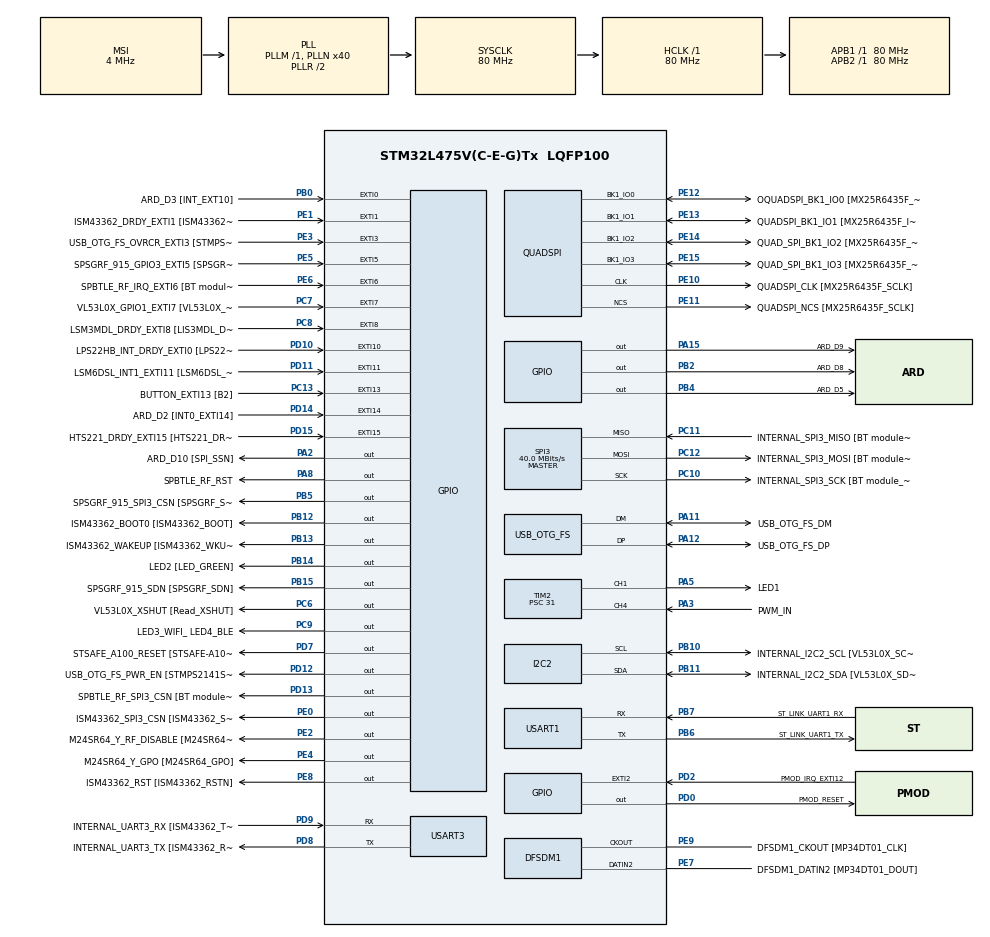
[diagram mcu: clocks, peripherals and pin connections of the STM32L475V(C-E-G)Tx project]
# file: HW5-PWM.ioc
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Mcu.Family=STM32L4
Mcu.Name=STM32L475V(C-E-G)Tx
Mcu.Package=LQFP100
NVIC.EXTI15_10_IRQn=true\:0\:0\:false\:false\:true\:true\:true\:true
NVIC.EXTI9_5_IRQn=true\:0\:0\:false\:false\:true\:true\:true\:true
NVIC.PriorityGroup=NVIC_PRIORITYGROUP_4
NVIC.TIM2_IRQn=true\:0\:0\:false\:false\:true\:true\:true\:true
PA0.GPIO_Label=ARD_D1 [UART4_TX]
PA0.Signal=UART4_TX
PA1.GPIO_Label=ARD_D0 [UART4_RX]
PA1.Signal=UART4_RX
PA10.GPIO_Label=USB_OTG_FS_ID
PA10.Signal=USB_OTG_FS_ID
PA11.GPIO_Label=USB_OTG_FS_DM
PA11.Mode=Device_Only
PA11.Signal=USB_OTG_FS_DM
PA12.GPIO_Label=USB_OTG_FS_DP
PA12.Mode=Device_Only
PA12.Signal=USB_OTG_FS_DP
PA13\ (JTMS-SWDIO).GPIO_Label=SYS_JTMS_SWDIO
PA13\ (JTMS-SWDIO).Mode=Serial_Wire
PA13\ (JTMS-SWDIO).Signal=SYS_JTMS-SWDIO
PA14\ (JTCK-SWCLK).GPIO_Label=SYS_JTCK_SWCLK
PA14\ (JTCK-SWCLK).Mode=Serial_Wire
PA14\ (JTCK-SWCLK).Signal=SYS_JTCK-SWCLK
PA15\ (JTDI).GPIO_Label=ARD_D9
PA15\ (JTDI).Signal=GPIO_Output
PA2.GPIO_Label=ARD_D10 [SPI_SSN]
PA2.Signal=GPIO_Output
PA3.GPIO_Label=PWM_IN
PA3.Signal=S_TIM2_CH4
PA4.GPIO_Label=ARD_D7
PA4.Signal=ADCx_IN9
PA5.GPIO_Label=LED1
PA5.Signal=S_TIM2_CH1
PA6.GPIO_Label=ARD_D12 [SPI1_MISO]
PA6.Signal=SPI1_MISO
PA7.GPIO_Label=ARD_D11 [SPI1_MOSI]
PA7.Signal=SPI1_MOSI
PA8.GPIO_Label=SPBTLE_RF_RST
PA8.Signal=GPIO_Output
PA9.GPIO_Label=USB_OTG_FS_VBUS [STMPS2141STR_OUT]
PA9.Signal=USB_OTG_FS_VBUS
PB0.GPIO_Label=ARD_D3 [INT_EXT10]
PB0.Signal=GPXTI0
PB1.GPIO_Label=ARD_D6 [ADC1_IN6]
PB1.Signal=ADCx_IN16
PB10.GPIO_Label=INTERNAL_I2C2_SCL [VL53L0X_SCL]
PB10.GPIO_Pu=GPIO_PULLUP
PB10.Mode=I2C
PB10.Signal=I2C2_SCL
PB11.GPIO_Label=INTERNAL_I2C2_SDA [VL53L0X_SDA]
PB11.GPIO_Pu=GPIO_PULLUP
PB11.Mode=I2C
PB11.Signal=I2C2_SDA
PB12.GPIO_Label=ISM43362_BOOT0 [ISM43362_BOOT]
PB12.Signal=GPIO_Output
PB13.GPIO_Label=ISM43362_WAKEUP [ISM43362_WKUP]
PB13.Signal=GPIO_Output
PB14.GPIO_Label=LED2 [LED_GREEN]
PB14.Signal=GPIO_Output
PB15.GPIO_Label=SPSGRF_915_SDN [SPSGRF_SDN]
PB15.Signal=GPIO_Output
PB2.GPIO_Label=ARD_D8
PB2.Signal=GPIO_Output
PB3\ (JTDO-TRACESWO).GPIO_Label=SYS_JTD0_SWO
PB3\ (JTDO-TRACESWO).Signal=SYS_JTDO-SWO
PB4\ (NJTRST).GPIO_Label=ARD_D5
PB4\ (NJTRST).Signal=GPIO_Output
PB5.GPIO_Label=SPSGRF_915_SPI3_CSN [SPSGRF_SPI_CS]
PB5.PinState=GPIO_PIN_SET
PB5.Signal=GPIO_Output
PB6.GPIO_Label=ST_LINK_UART1_TX
PB6.Mode=Asynchronous
PB6.Signal=USART1_TX
PB7.GPIO_Label=ST_LINK_UART1_RX
PB7.Mode=Asynchronous
PB7.Signal=USART1_RX
PB8.GPIO_Label=ARD_D15 [I2C1_SCL]
PB8.Signal=I2C1_SCL
PB9.GPIO_Label=ARD_D14 [I2C1_SDA]
PB9.Signal=I2C1_SDA
PC0.GPIO_Label=ARD_A5 [ADC]
PC0.Signal=ADCx_IN1
PC1.GPIO_Label=ARD_A4 [ADC]
PC1.Signal=ADCx_IN2
PC10.GPIO_Label=INTERNAL_SPI3_SCK [BT module_SPI_SCLK] [ISM43362_SCK]
PC10.Mode=Full_Duplex_Master
PC10.Signal=SPI3_SCK
PC11.GPIO_Label=INTERNAL_SPI3_MISO [BT module_SPI_MISO] [ISM43362_MISO]
PC11.Mode=Full_Duplex_Master
PC11.Signal=SPI3_MISO
PC12.GPIO_Label=INTERNAL_SPI3_MOSI [BT module_SPI_MOSI] [ISM43362_MOSI]
PC12.Mode=Full_Duplex_Master
PC12.Signal=SPI3_MOSI
PC13.GPIO_Label=BUTTON_EXTI13 [B2]
PC13.GPIO_ModeDefaultEXTI=GPIO_MODE_IT_FALLING
PC13.Signal=GPXTI13
PC14-OSC32_IN\ (PC14).Mode=LSE-External-Oscillator
PC14-OSC32_IN\ (PC14).Signal=RCC_OSC32_IN
PC15-OSC32_OUT\ (PC15).Mode=LSE-External-Oscillator
PC15-OSC32_OUT\ (PC15).Signal=RCC_OSC32_OUT
PC2.GPIO_Label=ARD_A3 [ADC]
PC2.Signal=ADCx_IN3
PC3.GPIO_Label=ARD_A2 [ADC]
PC3.Signal=ADCx_IN4
PC4.GPIO_Label=ARD_A1 [ADC]
PC4.Signal=ADCx_IN13
PC5.GPIO_Label=ARD_A0 [ADC]
PC5.Signal=ADCx_IN14
PC6.GPIO_Label=VL53L0X_XSHUT [Read_XSHUT]
PC6.Signal=GPIO_Output
PC7.GPIO_Label=VL53L0X_GPIO1_EXTI7 [VL53L0X_GPIO1]
PC7.Signal=GPXTI7
PC8.GPIO_Label=LSM3MDL_DRDY_EXTI8 [LIS3MDL_DRDY]
PC8.Signal=GPXTI8
PC9.GPIO_Label=LED3_WIFI_ LED4_BLE
PC9.Signal=GPIO_Output
PD0.GPIO_Label=PMOD_RESET
PD0.Signal=GPIO_Output
PD1.GPIO_Label=PMOD_SPI2_SCK
PD1.Signal=SPI2_SCK
PD10.GPIO_Label=LPS22HB_INT_DRDY_EXTI0 [LPS22HB_INT_DRDY] 
PD10.Signal=GPXTI10
PD11.GPIO_Label=LSM6DSL_INT1_EXTI11 [LSM6DSL_INT1]
PD11.Signal=GPXTI11
PD12.GPIO_Label=USB_OTG_FS_PWR_EN [STMPS2141STR_EN]
PD12.Signal=GPIO_Output
PD13.GPIO_Label=SPBTLE_RF_SPI3_CSN [BT module_SPI_CS]
PD13.PinState=GPIO_PIN_SET
PD13.Signal=GPIO_Output
PD14.GPIO_Label=ARD_D2 [INT0_EXTI14]
PD14.Signal=GPXTI14
PD15.GPIO_Label=HTS221_DRDY_EXTI15 [HTS221_DRDY]
PD15.Signal=GPXTI15
PD2.GPIO_Label=PMOD_IRQ_EXTI12
PD2.Signal=GPXTI2
PD3.GPIO_Label=PMOD_UART2_CTS
PD3.Signal=USART2_CTS
PD4.GPIO_Label=PMOD_UART2_RTS
PD4.Signal=USART2_RTS
PD5.GPIO_Label=PMOD_UART2_TX
PD5.Signal=USART2_TX
PD6.GPIO_Label=PMOD_UART2_RX
PD6.Signal=USART2_RX
PD7.GPIO_Label=STSAFE_A100_RESET [STSAFE-A100_RESET]
PD7.Signal=GPIO_Output
PD8.GPIO_Label=INTERNAL_UART3_TX [ISM43362_RX]
PD8.Mode=Asynchronous
PD8.Signal=USART3_TX
PD9.GPIO_Label=INTERNAL_UART3_RX [ISM43362_TX]
PD9.Mode=Asynchronous
PD9.Signal=USART3_RX
PE0.GPIO_Label=ISM43362_SPI3_CSN [ISM43362_SSN]
PE0.PinState=GPIO_PIN_SET
PE0.Signal=GPIO_Output
PE1.GPIO_Label=ISM43362_DRDY_EXTI1 [ISM43362_DATARDY]
PE1.Signal=GPXTI1
PE10.GPIO_Label=QUADSPI_CLK [MX25R6435F_SCLK]
PE10.Mode=Single Bank
PE10.Signal=QUADSPI_CLK
PE11.GPIO_Label=QUADSPI_NCS [MX25R6435F_SCLK]
PE11.Mode=Single Bank
PE11.Signal=QUADSPI_NCS
PE12.GPIO_Label=OQUADSPI_BK1_IO0 [MX25R6435F_IO0]
PE12.Mode=Single Bank
PE12.Signal=QUADSPI_BK1_IO0
PE13.GPIO_Label=QUADSPI_BK1_IO1 [MX25R6435F_IO1]
PE13.Mode=Single Bank
PE13.Signal=QUADSPI_BK1_IO1
PE14.GPIO_Label=QUAD_SPI_BK1_IO2 [MX25R6435F_IO2]
PE14.Mode=Single Bank
PE14.Signal=QUADSPI_BK1_IO2
PE15.GPIO_Label=QUAD_SPI_BK1_IO3 [MX25R6435F_IO3]
PE15.Mode=Single Bank
PE15.Signal=QUADSPI_BK1_IO3
PE2.GPIO_Label=M24SR64_Y_RF_DISABLE [M24SR64_RFDIS]
PE2.Signal=GPIO_Output
PE3.GPIO_Label=USB_OTG_FS_OVRCR_EXTI3 [STMPS2141STR_FAULT]
PE3.Signal=GPXTI3
PE4.GPIO_Label=M24SR64_Y_GPO [M24SR64_GPO]
PE4.Signal=GPIO_Output
PE5.GPIO_Label=SPSGRF_915_GPIO3_EXTI5 [SPSGRF_GPIO_3]
PE5.Signal=GPXTI5
PE6.GPIO_Label=SPBTLE_RF_IRQ_EXTI6 [BT module_SPI_IRQ]
PE6.Signal=GPXTI6
PE7.GPIO_Label=DFSDM1_DATIN2 [MP34DT01_DOUT]
PE7.Signal=S_DATAIN2DFSDM1
PE8.GPIO_Label=ISM43362_RST [ISM43362_RSTN]
PE8.Signal=GPIO_Output
PE9.GPIO_Label=DFSDM1_CKOUT [MP34DT01_CLK]
PE9.Signal=S_CKOUTDFSDM1
ProjectManager.HeapSize=0x200
ProjectManager.StackSize=0x400
ProjectManager.TargetToolchain=STM32CubeIDE
QUADSPI.ClockPrescaler=2
QUADSPI.FifoThreshold=4
QUADSPI.FlashSize=23
QUADSPI.SampleShifting=QSPI_SAMPLE_SHIFTING_HALFCYCLE
RCC.ADCFreq_Value=48000000
RCC.AHBFreq_Value=80000000
RCC.APB1Freq_Value=80000000
RCC.APB1TimFreq_Value=80000000
RCC.APB2Freq_Value=80000000
RCC.APB2TimFreq_Value=80000000
RCC.CortexFreq_Value=80000000
RCC.HCLKFreq_Value=80000000
RCC.HSE_VALUE=8000000
RCC.HSI_VALUE=16000000
RCC.MSI_VALUE=4000000
RCC.PLLN=40
RCC.PLLSAI1N=24
RCC.SYSCLKFreq_VALUE=80000000
RCC.SYSCLKSource=RCC_SYSCLKSOURCE_PLLCLK
RCC.USBFreq_Value=48000000
RCC.VCOOutputFreq_Value=160000000
SH.ADCx_IN1.0=ADC1_IN1
SH.ADCx_IN13.0=ADC1_IN13
SH.ADCx_IN14.0=ADC1_IN14
SH.ADCx_IN16.0=ADC1_IN16
SH.ADCx_IN2.0=ADC1_IN2
SH.ADCx_IN3.0=ADC1_IN3
SH.ADCx_IN4.0=ADC1_IN4
SH.ADCx_IN9.0=ADC1_IN9
SH.S_CKOUTDFSDM1.0=DFSDM1_CKOUT,CKOUT
SH.S_CKOUTDFSDM1.1=DFSDM1_CKOUT,PDM_SPI_Input_from_ch12_and_Internal_Clock
SH.S_DATAIN2DFSDM1.0=DFSDM1_DATIN2,PDM_SPI_Input_from_ch12_and_Internal_Clock
SH.S_TIM2_CH1.0=TIM2_CH1,PWM Generation1 CH1
SH.S_TIM2_CH4.0=TIM2_CH4,Input_Capture4_from_TI4
SPI3.CalculateBaudRate=40.0 MBits/s
SPI3.Direction=SPI_DIRECTION_2LINES
SPI3.Mode=SPI_MODE_MASTER
SPI3.VirtualType=VM_MASTER
TIM2.Channel-Input_Capture4_from_TI4=TIM_CHANNEL_4
TIM2.Channel-PWM\ Generation1\ CH1=TIM_CHANNEL_1
TIM2.ICPolarity_CH4=TIM_INPUTCHANNELPOLARITY_BOTHEDGE
TIM2.Period=999999
TIM2.Prescaler=31
TIM2.Pulse-PWM\ Generation1\ CH1=499999
USART1.VirtualMode-Asynchronous=VM_ASYNC
USART3.VirtualMode-Asynchronous=VM_ASYNC
USB_OTG_FS.VirtualMode=Device_Only
VP_TIM2_VS_ClockSourceINT.Mode=Internal
board=B-L475E-IOT01A2

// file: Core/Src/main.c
/* USER CODE BEGIN Header */
/**
  ******************************************************************************
  * @file           : main.c
  * @brief          : Main program body
  ******************************************************************************
  * @attention
  *
  * Copyright (c) 2025 STMicroelectronics.
  * All rights reserved.
  *
  * This software is licensed under terms that can be found in the LICENSE file
  * in the root directory of this software component.
  * If no LICENSE file comes with this software, it is provided AS-IS.
  *
  ******************************************************************************
  */
/* USER CODE END Header */
#include "main.h"

/* USER CODE BEGIN Includes */
#include <stdio.h>
#include <string.h>

/* USER CODE END Includes */

DFSDM_Channel_HandleTypeDef hdfsdm1_channel1;

I2C_HandleTypeDef hi2c2;

QSPI_HandleTypeDef hqspi;

SPI_HandleTypeDef hspi3;

TIM_HandleTypeDef htim2;

UART_HandleTypeDef huart1;
UART_HandleTypeDef huart3;

PCD_HandleTypeDef hpcd_USB_OTG_FS;

/* USER CODE BEGIN PV */
uint8_t pulse_width = 0;
/* USER CODE END PV */

void SystemClock_Config(void);
static void MX_GPIO_Init(void);
static void MX_DFSDM1_Init(void);
static void MX_I2C2_Init(void);
static void MX_QUADSPI_Init(void);
static void MX_SPI3_Init(void);
static void MX_USART1_UART_Init(void);
static void MX_USART3_UART_Init(void);
static void MX_USB_OTG_FS_PCD_Init(void);
static void MX_TIM2_Init(void);

int main(void)
{

  /* MCU Configuration--------------------------------------------------------*/

  /* Reset of all peripherals, Initializes the Flash interface and the Systick. */
  HAL_Init();

  /* Configure the system clock */
  SystemClock_Config();

  /* Initialize all configured peripherals */
  MX_GPIO_Init();
  MX_DFSDM1_Init();
  MX_I2C2_Init();
  MX_QUADSPI_Init();
  MX_SPI3_Init();
  MX_USART1_UART_Init();
  MX_USART3_UART_Init();
  MX_USB_OTG_FS_PCD_Init();
  MX_TIM2_Init();
  /* USER CODE BEGIN 2 */
  HAL_TIM_PWM_Start(&htim2, TIM_CHANNEL_1);
  HAL_TIM_IC_Start_IT(&htim2, TIM_CHANNEL_4);
  /* USER CODE END 2 */

  /* Infinite loop */
  while (1)
  {

  }
}

void SystemClock_Config(void)
{
  RCC_OscInitTypeDef RCC_OscInitStruct = {0};
  RCC_ClkInitTypeDef RCC_ClkInitStruct = {0};

  /** Configure the main internal regulator output voltage
  */
  if (HAL_PWREx_ControlVoltageScaling(PWR_REGULATOR_VOLTAGE_SCALE1) != HAL_OK)
  {
    Error_Handler();
  }

  /** Configure LSE Drive Capability
  */
  HAL_PWR_EnableBkUpAccess();
  __HAL_RCC_LSEDRIVE_CONFIG(RCC_LSEDRIVE_LOW);

  /** Initializes the RCC Oscillators according to the specified parameters
  * in the RCC_OscInitTypeDef structure.
  */
  RCC_OscInitStruct.OscillatorType = RCC_OSCILLATORTYPE_LSE|RCC_OSCILLATORTYPE_MSI;
  RCC_OscInitStruct.LSEState = RCC_LSE_ON;
  RCC_OscInitStruct.MSIState = RCC_MSI_ON;
  RCC_OscInitStruct.MSICalibrationValue = 0;
  RCC_OscInitStruct.MSIClockRange = RCC_MSIRANGE_6;
  RCC_OscInitStruct.PLL.PLLState = RCC_PLL_ON;
  RCC_OscInitStruct.PLL.PLLSource = RCC_PLLSOURCE_MSI;
  RCC_OscInitStruct.PLL.PLLM = 1;
  RCC_OscInitStruct.PLL.PLLN = 40;
  RCC_OscInitStruct.PLL.PLLP = RCC_PLLP_DIV7;
  RCC_OscInitStruct.PLL.PLLQ = RCC_PLLQ_DIV2;
  RCC_OscInitStruct.PLL.PLLR = RCC_PLLR_DIV2;
  if (HAL_RCC_OscConfig(&RCC_OscInitStruct) != HAL_OK)
  {
    Error_Handler();
  }

  /** Initializes the CPU, AHB and APB buses clocks
  */
  RCC_ClkInitStruct.ClockType = RCC_CLOCKTYPE_HCLK|RCC_CLOCKTYPE_SYSCLK
                              |RCC_CLOCKTYPE_PCLK1|RCC_CLOCKTYPE_PCLK2;
  RCC_ClkInitStruct.SYSCLKSource = RCC_SYSCLKSOURCE_PLLCLK;
  RCC_ClkInitStruct.AHBCLKDivider = RCC_SYSCLK_DIV1;
  RCC_ClkInitStruct.APB1CLKDivider = RCC_HCLK_DIV1;
  RCC_ClkInitStruct.APB2CLKDivider = RCC_HCLK_DIV1;

  if (HAL_RCC_ClockConfig(&RCC_ClkInitStruct, FLASH_LATENCY_4) != HAL_OK)
  {
    Error_Handler();
  }

  /** Enable MSI Auto calibration
  */
  HAL_RCCEx_EnableMSIPLLMode();
}

static void MX_DFSDM1_Init(void)
{

  hdfsdm1_channel1.Instance = DFSDM1_Channel1;
  hdfsdm1_channel1.Init.OutputClock.Activation = ENABLE;
  hdfsdm1_channel1.Init.OutputClock.Selection = DFSDM_CHANNEL_OUTPUT_CLOCK_SYSTEM;
  hdfsdm1_channel1.Init.OutputClock.Divider = 2;
  hdfsdm1_channel1.Init.Input.Multiplexer = DFSDM_CHANNEL_EXTERNAL_INPUTS;
  hdfsdm1_channel1.Init.Input.DataPacking = DFSDM_CHANNEL_STANDARD_MODE;
  hdfsdm1_channel1.Init.Input.Pins = DFSDM_CHANNEL_FOLLOWING_CHANNEL_PINS;
  hdfsdm1_channel1.Init.SerialInterface.Type = DFSDM_CHANNEL_SPI_RISING;
  hdfsdm1_channel1.Init.SerialInterface.SpiClock = DFSDM_CHANNEL_SPI_CLOCK_INTERNAL;
  hdfsdm1_channel1.Init.Awd.FilterOrder = DFSDM_CHANNEL_FASTSINC_ORDER;
  hdfsdm1_channel1.Init.Awd.Oversampling = 1;
  hdfsdm1_channel1.Init.Offset = 0;
  hdfsdm1_channel1.Init.RightBitShift = 0x00;
  if (HAL_DFSDM_ChannelInit(&hdfsdm1_channel1) != HAL_OK)
  {
    Error_Handler();
  }

}

static void MX_I2C2_Init(void)
{

  hi2c2.Instance = I2C2;
  hi2c2.Init.Timing = 0x00000E14;
  hi2c2.Init.OwnAddress1 = 0;
  hi2c2.Init.AddressingMode = I2C_ADDRESSINGMODE_7BIT;
  hi2c2.Init.DualAddressMode = I2C_DUALADDRESS_DISABLE;
  hi2c2.Init.OwnAddress2 = 0;
  hi2c2.Init.OwnAddress2Masks = I2C_OA2_NOMASK;
  hi2c2.Init.GeneralCallMode = I2C_GENERALCALL_DISABLE;
  hi2c2.Init.NoStretchMode = I2C_NOSTRETCH_DISABLE;
  if (HAL_I2C_Init(&hi2c2) != HAL_OK)
  {
    Error_Handler();
  }

  /** Configure Analogue filter
  */
  if (HAL_I2CEx_ConfigAnalogFilter(&hi2c2, I2C_ANALOGFILTER_ENABLE) != HAL_OK)
  {
    Error_Handler();
  }

  /** Configure Digital filter
  */
  if (HAL_I2CEx_ConfigDigitalFilter(&hi2c2, 0) != HAL_OK)
  {
    Error_Handler();
  }

}

static void MX_QUADSPI_Init(void)
{

  /* QUADSPI parameter configuration*/
  hqspi.Instance = QUADSPI;
  hqspi.Init.ClockPrescaler = 2;
  hqspi.Init.FifoThreshold = 4;
  hqspi.Init.SampleShifting = QSPI_SAMPLE_SHIFTING_HALFCYCLE;
  hqspi.Init.FlashSize = 23;
  hqspi.Init.ChipSelectHighTime = QSPI_CS_HIGH_TIME_1_CYCLE;
  hqspi.Init.ClockMode = QSPI_CLOCK_MODE_0;
  if (HAL_QSPI_Init(&hqspi) != HAL_OK)
  {
    Error_Handler();
  }

}

static void MX_SPI3_Init(void)
{

  /* SPI3 parameter configuration*/
  hspi3.Instance = SPI3;
  hspi3.Init.Mode = SPI_MODE_MASTER;
  hspi3.Init.Direction = SPI_DIRECTION_2LINES;
  hspi3.Init.DataSize = SPI_DATASIZE_4BIT;
  hspi3.Init.CLKPolarity = SPI_POLARITY_LOW;
  hspi3.Init.CLKPhase = SPI_PHASE_1EDGE;
  hspi3.Init.NSS = SPI_NSS_SOFT;
  hspi3.Init.BaudRatePrescaler = SPI_BAUDRATEPRESCALER_2;
  hspi3.Init.FirstBit = SPI_FIRSTBIT_MSB;
  hspi3.Init.TIMode = SPI_TIMODE_DISABLE;
  hspi3.Init.CRCCalculation = SPI_CRCCALCULATION_DISABLE;
  hspi3.Init.CRCPolynomial = 7;
  hspi3.Init.CRCLength = SPI_CRC_LENGTH_DATASIZE;
  hspi3.Init.NSSPMode = SPI_NSS_PULSE_ENABLE;
  if (HAL_SPI_Init(&hspi3) != HAL_OK)
  {
    Error_Handler();
  }

}

static void MX_TIM2_Init(void)
{

  TIM_ClockConfigTypeDef sClockSourceConfig = {0};
  TIM_MasterConfigTypeDef sMasterConfig = {0};
  TIM_OC_InitTypeDef sConfigOC = {0};
  TIM_IC_InitTypeDef sConfigIC = {0};

  htim2.Instance = TIM2;
  htim2.Init.Prescaler = 1;
  htim2.Init.CounterMode = TIM_COUNTERMODE_UP;
  htim2.Init.Period = 999999;
  htim2.Init.ClockDivision = TIM_CLOCKDIVISION_DIV1;
  htim2.Init.AutoReloadPreload = TIM_AUTORELOAD_PRELOAD_DISABLE;
  if (HAL_TIM_Base_Init(&htim2) != HAL_OK)
  {
    Error_Handler();
  }
  sClockSourceConfig.ClockSource = TIM_CLOCKSOURCE_INTERNAL;
  if (HAL_TIM_ConfigClockSource(&htim2, &sClockSourceConfig) != HAL_OK)
  {
    Error_Handler();
  }
  if (HAL_TIM_PWM_Init(&htim2) != HAL_OK)
  {
    Error_Handler();
  }
  if (HAL_TIM_IC_Init(&htim2) != HAL_OK)
  {
    Error_Handler();
  }
  sMasterConfig.MasterOutputTrigger = TIM_TRGO_RESET;
  sMasterConfig.MasterSlaveMode = TIM_MASTERSLAVEMODE_DISABLE;
  if (HAL_TIMEx_MasterConfigSynchronization(&htim2, &sMasterConfig) != HAL_OK)
  {
    Error_Handler();
  }
  sConfigOC.OCMode = TIM_OCMODE_PWM1;
  sConfigOC.Pulse = 299;
  sConfigOC.OCPolarity = TIM_OCPOLARITY_HIGH;
  sConfigOC.OCFastMode = TIM_OCFAST_DISABLE;
  if (HAL_TIM_PWM_ConfigChannel(&htim2, &sConfigOC, TIM_CHANNEL_1) != HAL_OK)
  {
    Error_Handler();
  }
  sConfigIC.ICPolarity = TIM_INPUTCHANNELPOLARITY_BOTHEDGE;
  sConfigIC.ICSelection = TIM_ICSELECTION_DIRECTTI;
  sConfigIC.ICPrescaler = TIM_ICPSC_DIV1;
  sConfigIC.ICFilter = 0;
  if (HAL_TIM_IC_ConfigChannel(&htim2, &sConfigIC, TIM_CHANNEL_4) != HAL_OK)
  {
    Error_Handler();
  }
  HAL_TIM_MspPostInit(&htim2);

}

static void MX_USART1_UART_Init(void)
{

  huart1.Instance = USART1;
  huart1.Init.BaudRate = 115200;
  huart1.Init.WordLength = UART_WORDLENGTH_8B;
  huart1.Init.StopBits = UART_STOPBITS_1;
  huart1.Init.Parity = UART_PARITY_NONE;
  huart1.Init.Mode = UART_MODE_TX_RX;
  huart1.Init.HwFlowCtl = UART_HWCONTROL_NONE;
  huart1.Init.OverSampling = UART_OVERSAMPLING_16;
  huart1.Init.OneBitSampling = UART_ONE_BIT_SAMPLE_DISABLE;
  huart1.AdvancedInit.AdvFeatureInit = UART_ADVFEATURE_NO_INIT;
  if (HAL_UART_Init(&huart1) != HAL_OK)
  {
    Error_Handler();
  }

}

static void MX_USART3_UART_Init(void)
{

  huart3.Instance = USART3;
  huart3.Init.BaudRate = 115200;
  huart3.Init.WordLength = UART_WORDLENGTH_8B;
  huart3.Init.StopBits = UART_STOPBITS_1;
  huart3.Init.Parity = UART_PARITY_NONE;
  huart3.Init.Mode = UART_MODE_TX_RX;
  huart3.Init.HwFlowCtl = UART_HWCONTROL_NONE;
  huart3.Init.OverSampling = UART_OVERSAMPLING_16;
  huart3.Init.OneBitSampling = UART_ONE_BIT_SAMPLE_DISABLE;
  huart3.AdvancedInit.AdvFeatureInit = UART_ADVFEATURE_NO_INIT;
  if (HAL_UART_Init(&huart3) != HAL_OK)
  {
    Error_Handler();
  }

}

static void MX_USB_OTG_FS_PCD_Init(void)
{

  hpcd_USB_OTG_FS.Instance = USB_OTG_FS;
  hpcd_USB_OTG_FS.Init.dev_endpoints = 6;
  hpcd_USB_OTG_FS.Init.speed = PCD_SPEED_FULL;
  hpcd_USB_OTG_FS.Init.phy_itface = PCD_PHY_EMBEDDED;
  hpcd_USB_OTG_FS.Init.Sof_enable = DISABLE;
  hpcd_USB_OTG_FS.Init.low_power_enable = DISABLE;
  hpcd_USB_OTG_FS.Init.lpm_enable = DISABLE;
  hpcd_USB_OTG_FS.Init.battery_charging_enable = DISABLE;
  hpcd_USB_OTG_FS.Init.use_dedicated_ep1 = DISABLE;
  hpcd_USB_OTG_FS.Init.vbus_sensing_enable = DISABLE;
  if (HAL_PCD_Init(&hpcd_USB_OTG_FS) != HAL_OK)
  {
    Error_Handler();
  }

}

static void MX_GPIO_Init(void)
{
  GPIO_InitTypeDef GPIO_InitStruct = {0};

  /* GPIO Ports Clock Enable */
  __HAL_RCC_GPIOE_CLK_ENABLE();
  __HAL_RCC_GPIOC_CLK_ENABLE();
  __HAL_RCC_GPIOA_CLK_ENABLE();
  __HAL_RCC_GPIOB_CLK_ENABLE();
  __HAL_RCC_GPIOD_CLK_ENABLE();

  /*Configure GPIO pin Output Level */
  HAL_GPIO_WritePin(GPIOE, M24SR64_Y_RF_DISABLE_Pin|M24SR64_Y_GPO_Pin|ISM43362_RST_Pin, GPIO_PIN_RESET);

  /*Configure GPIO pin Output Level */
  HAL_GPIO_WritePin(GPIOA, ARD_D10_Pin|SPBTLE_RF_RST_Pin|ARD_D9_Pin, GPIO_PIN_RESET);

  /*Configure GPIO pin Output Level */
  HAL_GPIO_WritePin(GPIOB, ARD_D8_Pin|ISM43362_BOOT0_Pin|ISM43362_WAKEUP_Pin|LED2_Pin
                          |SPSGRF_915_SDN_Pin|ARD_D5_Pin, GPIO_PIN_RESET);

  /*Configure GPIO pin Output Level */
  HAL_GPIO_WritePin(GPIOD, USB_OTG_FS_PWR_EN_Pin|PMOD_RESET_Pin|STSAFE_A100_RESET_Pin, GPIO_PIN_RESET);

  /*Configure GPIO pin Output Level */
  HAL_GPIO_WritePin(SPBTLE_RF_SPI3_CSN_GPIO_Port, SPBTLE_RF_SPI3_CSN_Pin, GPIO_PIN_SET);

  /*Configure GPIO pin Output Level */
  HAL_GPIO_WritePin(GPIOC, VL53L0X_XSHUT_Pin|LED3_WIFI__LED4_BLE_Pin, GPIO_PIN_RESET);

  /*Configure GPIO pin Output Level */
  HAL_GPIO_WritePin(SPSGRF_915_SPI3_CSN_GPIO_Port, SPSGRF_915_SPI3_CSN_Pin, GPIO_PIN_SET);

  /*Configure GPIO pin Output Level */
  HAL_GPIO_WritePin(ISM43362_SPI3_CSN_GPIO_Port, ISM43362_SPI3_CSN_Pin, GPIO_PIN_SET);

  /*Configure GPIO pins : M24SR64_Y_RF_DISABLE_Pin M24SR64_Y_GPO_Pin ISM43362_RST_Pin ISM43362_SPI3_CSN_Pin */
  GPIO_InitStruct.Pin = M24SR64_Y_RF_DISABLE_Pin|M24SR64_Y_GPO_Pin|ISM43362_RST_Pin|ISM43362_SPI3_CSN_Pin;
  GPIO_InitStruct.Mode = GPIO_MODE_OUTPUT_PP;
  GPIO_InitStruct.Pull = GPIO_NOPULL;
  GPIO_InitStruct.Speed = GPIO_SPEED_FREQ_LOW;
  HAL_GPIO_Init(GPIOE, &GPIO_InitStruct);

  /*Configure GPIO pins : USB_OTG_FS_OVRCR_EXTI3_Pin SPSGRF_915_GPIO3_EXTI5_Pin SPBTLE_RF_IRQ_EXTI6_Pin ISM43362_DRDY_EXTI1_Pin */
  GPIO_InitStruct.Pin = USB_OTG_FS_OVRCR_EXTI3_Pin|SPSGRF_915_GPIO3_EXTI5_Pin|SPBTLE_RF_IRQ_EXTI6_Pin|ISM43362_DRDY_EXTI1_Pin;
  GPIO_InitStruct.Mode = GPIO_MODE_IT_RISING;
  GPIO_InitStruct.Pull = GPIO_NOPULL;
  HAL_GPIO_Init(GPIOE, &GPIO_InitStruct);

  /*Configure GPIO pin : BUTTON_EXTI13_Pin */
  GPIO_InitStruct.Pin = BUTTON_EXTI13_Pin;
  GPIO_InitStruct.Mode = GPIO_MODE_IT_FALLING;
  GPIO_InitStruct.Pull = GPIO_NOPULL;
  HAL_GPIO_Init(BUTTON_EXTI13_GPIO_Port, &GPIO_InitStruct);

  /*Configure GPIO pins : ARD_A5_Pin ARD_A4_Pin ARD_A3_Pin ARD_A2_Pin
                           ARD_A1_Pin ARD_A0_Pin */
  GPIO_InitStruct.Pin = ARD_A5_Pin|ARD_A4_Pin|ARD_A3_Pin|ARD_A2_Pin
                          |ARD_A1_Pin|ARD_A0_Pin;
  GPIO_InitStruct.Mode = GPIO_MODE_ANALOG_ADC_CONTROL;
  GPIO_InitStruct.Pull = GPIO_NOPULL;
  HAL_GPIO_Init(GPIOC, &GPIO_InitStruct);

  /*Configure GPIO pins : ARD_D1_Pin ARD_D0_Pin */
  GPIO_InitStruct.Pin = ARD_D1_Pin|ARD_D0_Pin;
  GPIO_InitStruct.Mode = GPIO_MODE_AF_PP;
  GPIO_InitStruct.Pull = GPIO_NOPULL;
  GPIO_InitStruct.Speed = GPIO_SPEED_FREQ_VERY_HIGH;
  GPIO_InitStruct.Alternate = GPIO_AF8_UART4;
  HAL_GPIO_Init(GPIOA, &GPIO_InitStruct);

  /*Configure GPIO pins : ARD_D10_Pin SPBTLE_RF_RST_Pin ARD_D9_Pin */
  GPIO_InitStruct.Pin = ARD_D10_Pin|SPBTLE_RF_RST_Pin|ARD_D9_Pin;
  GPIO_InitStruct.Mode = GPIO_MODE_OUTPUT_PP;
  GPIO_InitStruct.Pull = GPIO_NOPULL;
  GPIO_InitStruct.Speed = GPIO_SPEED_FREQ_LOW;
  HAL_GPIO_Init(GPIOA, &GPIO_InitStruct);

  /*Configure GPIO pin : ARD_D7_Pin */
  GPIO_InitStruct.Pin = ARD_D7_Pin;
  GPIO_InitStruct.Mode = GPIO_MODE_ANALOG_ADC_CONTROL;
  GPIO_InitStruct.Pull = GPIO_NOPULL;
  HAL_GPIO_Init(ARD_D7_GPIO_Port, &GPIO_InitStruct);

  /*Configure GPIO pins : ARD_D12_Pin ARD_D11_Pin */
  GPIO_InitStruct.Pin = ARD_D12_Pin|ARD_D11_Pin;
  GPIO_InitStruct.Mode = GPIO_MODE_AF_PP;
  GPIO_InitStruct.Pull = GPIO_NOPULL;
  GPIO_InitStruct.Speed = GPIO_SPEED_FREQ_VERY_HIGH;
  GPIO_InitStruct.Alternate = GPIO_AF5_SPI1;
  HAL_GPIO_Init(GPIOA, &GPIO_InitStruct);

  /*Configure GPIO pin : ARD_D3_Pin */
  GPIO_InitStruct.Pin = ARD_D3_Pin;
  GPIO_InitStruct.Mode = GPIO_MODE_IT_RISING;
  GPIO_InitStruct.Pull = GPIO_NOPULL;
  HAL_GPIO_Init(ARD_D3_GPIO_Port, &GPIO_InitStruct);

  /*Configure GPIO pin : ARD_D6_Pin */
  GPIO_InitStruct.Pin = ARD_D6_Pin;
  GPIO_InitStruct.Mode = GPIO_MODE_ANALOG_ADC_CONTROL;
  GPIO_InitStruct.Pull = GPIO_NOPULL;
  HAL_GPIO_Init(ARD_D6_GPIO_Port, &GPIO_InitStruct);

  /*Configure GPIO pins : ARD_D8_Pin ISM43362_BOOT0_Pin ISM43362_WAKEUP_Pin LED2_Pin
                           SPSGRF_915_SDN_Pin ARD_D5_Pin SPSGRF_915_SPI3_CSN_Pin */
  GPIO_InitStruct.Pin = ARD_D8_Pin|ISM43362_BOOT0_Pin|ISM43362_WAKEUP_Pin|LED2_Pin
                          |SPSGRF_915_SDN_Pin|ARD_D5_Pin|SPSGRF_915_SPI3_CSN_Pin;
  GPIO_InitStruct.Mode = GPIO_MODE_OUTPUT_PP;
  GPIO_InitStruct.Pull = GPIO_NOPULL;
  GPIO_InitStruct.Speed = GPIO_SPEED_FREQ_LOW;
  HAL_GPIO_Init(GPIOB, &GPIO_InitStruct);

  /*Configure GPIO pins : LPS22HB_INT_DRDY_EXTI0_Pin LSM6DSL_INT1_EXTI11_Pin ARD_D2_Pin HTS221_DRDY_EXTI15_Pin
                           PMOD_IRQ_EXTI12_Pin */
  GPIO_InitStruct.Pin = LPS22HB_INT_DRDY_EXTI0_Pin|LSM6DSL_INT1_EXTI11_Pin|ARD_D2_Pin|HTS221_DRDY_EXTI15_Pin
                          |PMOD_IRQ_EXTI12_Pin;
  GPIO_InitStruct.Mode = GPIO_MODE_IT_RISING;
  GPIO_InitStruct.Pull = GPIO_NOPULL;
  HAL_GPIO_Init(GPIOD, &GPIO_InitStruct);

  /*Configure GPIO pins : USB_OTG_FS_PWR_EN_Pin SPBTLE_RF_SPI3_CSN_Pin PMOD_RESET_Pin STSAFE_A100_RESET_Pin */
  GPIO_InitStruct.Pin = USB_OTG_FS_PWR_EN_Pin|SPBTLE_RF_SPI3_CSN_Pin|PMOD_RESET_Pin|STSAFE_A100_RESET_Pin;
  GPIO_InitStruct.Mode = GPIO_MODE_OUTPUT_PP;
  GPIO_InitStruct.Pull = GPIO_NOPULL;
  GPIO_InitStruct.Speed = GPIO_SPEED_FREQ_LOW;
  HAL_GPIO_Init(GPIOD, &GPIO_InitStruct);

  /*Configure GPIO pins : VL53L0X_XSHUT_Pin LED3_WIFI__LED4_BLE_Pin */
  GPIO_InitStruct.Pin = VL53L0X_XSHUT_Pin|LED3_WIFI__LED4_BLE_Pin;
  GPIO_InitStruct.Mode = GPIO_MODE_OUTPUT_PP;
  GPIO_InitStruct.Pull = GPIO_NOPULL;
  GPIO_InitStruct.Speed = GPIO_SPEED_FREQ_LOW;
  HAL_GPIO_Init(GPIOC, &GPIO_InitStruct);

  /*Configure GPIO pins : VL53L0X_GPIO1_EXTI7_Pin LSM3MDL_DRDY_EXTI8_Pin */
  GPIO_InitStruct.Pin = VL53L0X_GPIO1_EXTI7_Pin|LSM3MDL_DRDY_EXTI8_Pin;
  GPIO_InitStruct.Mode = GPIO_MODE_IT_RISING;
  GPIO_InitStruct.Pull = GPIO_NOPULL;
  HAL_GPIO_Init(GPIOC, &GPIO_InitStruct);

  /*Configure GPIO pin : PMOD_SPI2_SCK_Pin */
  GPIO_InitStruct.Pin = PMOD_SPI2_SCK_Pin;
  GPIO_InitStruct.Mode = GPIO_MODE_AF_PP;
  GPIO_InitStruct.Pull = GPIO_NOPULL;
  GPIO_InitStruct.Speed = GPIO_SPEED_FREQ_VERY_HIGH;
  GPIO_InitStruct.Alternate = GPIO_AF5_SPI2;
  HAL_GPIO_Init(PMOD_SPI2_SCK_GPIO_Port, &GPIO_InitStruct);

  /*Configure GPIO pins : PMOD_UART2_CTS_Pin PMOD_UART2_RTS_Pin PMOD_UART2_TX_Pin PMOD_UART2_RX_Pin */
  GPIO_InitStruct.Pin = PMOD_UART2_CTS_Pin|PMOD_UART2_RTS_Pin|PMOD_UART2_TX_Pin|PMOD_UART2_RX_Pin;
  GPIO_InitStruct.Mode = GPIO_MODE_AF_PP;
  GPIO_InitStruct.Pull = GPIO_NOPULL;
  GPIO_InitStruct.Speed = GPIO_SPEED_FREQ_VERY_HIGH;
  GPIO_InitStruct.Alternate = GPIO_AF7_USART2;
  HAL_GPIO_Init(GPIOD, &GPIO_InitStruct);

  /*Configure GPIO pins : ARD_D15_Pin ARD_D14_Pin */
  GPIO_InitStruct.Pin = ARD_D15_Pin|ARD_D14_Pin;
  GPIO_InitStruct.Mode = GPIO_MODE_AF_OD;
  GPIO_InitStruct.Pull = GPIO_NOPULL;
  GPIO_InitStruct.Speed = GPIO_SPEED_FREQ_VERY_HIGH;
  GPIO_InitStruct.Alternate = GPIO_AF4_I2C1;
  HAL_GPIO_Init(GPIOB, &GPIO_InitStruct);

  /* EXTI interrupt init*/
  HAL_NVIC_SetPriority(EXTI9_5_IRQn, 0, 0);
  HAL_NVIC_EnableIRQ(EXTI9_5_IRQn);

  HAL_NVIC_SetPriority(EXTI15_10_IRQn, 0, 0);
  HAL_NVIC_EnableIRQ(EXTI15_10_IRQn);

}

/* USER CODE BEGIN 4 */
void HAL_GPIO_EXTI_Callback(uint16_t GPIO_Pin){
  switch (GPIO_Pin){
    case GPIO_PIN_13:
      if(pulse_width == 9)	pulse_width = 0;
      else			pulse_width++;
      // start copy from tim1 initialization
      TIM_OC_InitTypeDef sConfigOC;
      sConfigOC.OCMode = TIM_OCMODE_PWM1;
      sConfigOC.Pulse = pulse_width*100000;
      if (HAL_TIM_PWM_ConfigChannel(&htim2, &sConfigOC, TIM_CHANNEL_1) != HAL_OK)
      {
      //Error_Handler(__FILE__, __LINE__);
      }
      // end copy from tim1 initialization
      HAL_TIM_PWM_Start(&htim2,TIM_CHANNEL_1);

      break;
    default:
      break;
  }
}

uint32_t IC_Val1 = 0;
uint32_t IC_Val2 = 0;
uint32_t pre_Val = 0;
uint32_t Difference = 0;
uint8_t Is_First_Captured = 0;
uint32_t Frequency = 0;
uint32_t Duty = 0;
uint32_t Interv = 0;

void HAL_TIM_IC_CaptureCallback(TIM_HandleTypeDef *htim)
{
  if (htim->Instance == TIM2 && htim->Channel == HAL_TIM_ACTIVE_CHANNEL_4)
  {
    if (Is_First_Captured == 0)
    {
      IC_Val1 = HAL_TIM_ReadCapturedValue(htim, TIM_CHANNEL_4);
      Is_First_Captured = 1;
    }
    else if (Is_First_Captured == 1)
    {
      IC_Val2 = HAL_TIM_ReadCapturedValue(htim, TIM_CHANNEL_4);

      Interv = HAL_GetTick()-pre_Val;
      pre_Val = HAL_GetTick();

      if (IC_Val2 > IC_Val1)
	Difference = IC_Val2-IC_Val1;
      else
	Difference = (htim->Instance->ARR-IC_Val1)+IC_Val2;

      uint32_t ARR = htim->Instance->ARR;
      Frequency = 1000/Interv;
      Duty = 100*Difference/(ARR+1);

      Is_First_Captured = 0;

      char msg[64];
      sprintf(msg, "Freq: %lu Hz, Duty: %lu %%\r\n", Frequency, Duty);
      HAL_UART_Transmit(&huart1, (uint8_t*)msg, strlen(msg), HAL_MAX_DELAY);
    }
  }
}

/* USER CODE END 4 */

void Error_Handler(void)
{
  __disable_irq();
  while (1)
  {
  }
}
